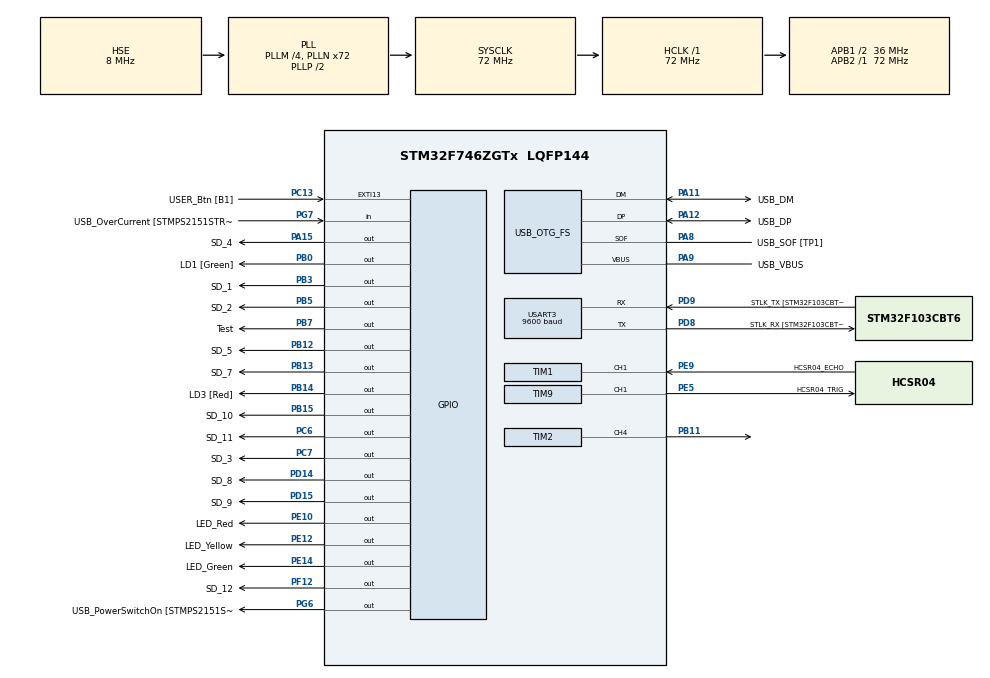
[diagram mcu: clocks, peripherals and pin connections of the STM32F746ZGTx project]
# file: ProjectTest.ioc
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Mcu.Family=STM32F7
Mcu.Name=STM32F746ZGTx
Mcu.Package=LQFP144
NVIC.PriorityGroup=NVIC_PRIORITYGROUP_4
NVIC.TIM1_CC_IRQn=true\:0\:0\:false\:false\:true\:true\:true\:true
PA1.GPIO_Label=RMII_REF_CLK [LAN8742A-CZ-TR_REFCLK0]
PA1.Signal=ETH_REF_CLK
PA10.GPIO_Label=USB_ID
PA10.Signal=USB_OTG_FS_ID
PA11.GPIO_Label=USB_DM
PA11.Mode=Device_Only
PA11.Signal=USB_OTG_FS_DM
PA12.GPIO_Label=USB_DP
PA12.Mode=Device_Only
PA12.Signal=USB_OTG_FS_DP
PA13.GPIO_Label=TMS
PA13.Mode=Serial_Wire
PA13.Signal=SYS_JTMS-SWDIO
PA14.GPIO_Label=TCK
PA14.Mode=Serial_Wire
PA14.Signal=SYS_JTCK-SWCLK
PA15.GPIO_Label=SD_4
PA15.Signal=GPIO_Output
PA2.Signal=S_TIM2_CH3
PA7.GPIO_Label=RMII_CRS_DV [LAN8742A-CZ-TR_CRS_DV]
PA7.Signal=ETH_CRS_DV
PA8.GPIO_Label=USB_SOF [TP1]
PA8.Mode=Activate_SOF_FS
PA8.Signal=USB_OTG_FS_SOF
PA9.GPIO_Label=USB_VBUS
PA9.Mode=Activate_VBUS
PA9.Signal=USB_OTG_FS_VBUS
PB0.GPIO_Label=LD1 [Green]
PB0.Signal=GPIO_Output
PB11.Signal=S_TIM2_CH4
PB12.GPIO_Label=SD_5
PB12.Signal=GPIO_Output
PB13.GPIO_Label=SD_7
PB13.Signal=GPIO_Output
PB14.GPIO_Label=LD3 [Red]
PB14.Signal=GPIO_Output
PB15.GPIO_Label=SD_10
PB15.Signal=GPIO_Output
PB3.GPIO_Label=SD_1
PB3.Signal=GPIO_Output
PB5.GPIO_Label=SD_2
PB5.Signal=GPIO_Output
PB7.GPIO_Label=Test
PB7.Signal=GPIO_Output
PC1.GPIO_Label=RMII_MDC [LAN8742A-CZ-TR_MDC]
PC1.Signal=ETH_MDC
PC13.GPIO_Label=USER_Btn [B1]
PC13.Signal=GPXTI13
PC14/OSC32_IN.Mode=LSE-External-Oscillator
PC14/OSC32_IN.Signal=RCC_OSC32_IN
PC15/OSC32_OUT.Mode=LSE-External-Oscillator
PC15/OSC32_OUT.Signal=RCC_OSC32_OUT
PC4.GPIO_Label=RMII_RXD0 [LAN8742A-CZ-TR_RXD0]
PC4.Signal=ETH_RXD0
PC5.GPIO_Label=RMII_RXD1 [LAN8742A-CZ-TR_RXD1]
PC5.Signal=ETH_RXD1
PC6.GPIO_Label=SD_11
PC6.Signal=GPIO_Output
PC7.GPIO_Label=SD_3
PC7.Signal=GPIO_Output
PD14.GPIO_Label=SD_8
PD14.Signal=GPIO_Output
PD15.GPIO_Label=SD_9
PD15.Signal=GPIO_Output
PD8.GPIO_Label=STLK_RX [STM32F103CBT6_PA3]
PD8.GPIO_PuPd=GPIO_PULLUP
PD8.Mode=Asynchronous
PD8.Signal=USART3_TX
PD9.GPIO_Label=STLK_TX [STM32F103CBT6_PA2]
PD9.GPIO_PuPd=GPIO_PULLUP
PD9.Mode=Asynchronous
PD9.Signal=USART3_RX
PE10.GPIO_Label=LED_Red
PE10.Signal=GPIO_Output
PE12.GPIO_Label=LED_Yellow
PE12.Signal=GPIO_Output
PE14.GPIO_Label=LED_Green
PE14.Signal=GPIO_Output
PE5.GPIO_Label=HCSR04_TRIG
PE5.Signal=S_TIM9_CH1
PE9.GPIO_Label=HCSR04_ECHO
PE9.Signal=S_TIM1_CH1
PF12.GPIO_Label=SD_12
PF12.Signal=GPIO_Output
PG11.GPIO_Label=RMII_TX_EN [LAN8742A-CZ-TR_TXEN]
PG11.Signal=ETH_TX_EN
PG13.GPIO_Label=RMII_TXD0 [LAN8742A-CZ-TR_TXD0]
PG13.Signal=ETH_TXD0
PG6.GPIO_Label=USB_PowerSwitchOn [STMPS2151STR_EN]
PG6.Signal=GPIO_Output
PG7.GPIO_Label=USB_OverCurrent [STMPS2151STR_FAULT]
PG7.Signal=GPIO_Input
PH0/OSC_IN.GPIO_Label=MCO [STM32F103CBT6_PA8]
PH0/OSC_IN.Mode=HSE-External-Clock-Source
PH0/OSC_IN.Signal=RCC_OSC_IN
PH1/OSC_OUT.Mode=HSE-External-Clock-Source
PH1/OSC_OUT.Signal=RCC_OSC_OUT
ProjectManager.HeapSize=0x200
ProjectManager.StackSize=0x400
ProjectManager.TargetToolchain=STM32CubeIDE
RCC.48MHZClocksFreq_Value=24000000
RCC.AHBFreq_Value=72000000
RCC.APB1CLKDivider=RCC_HCLK_DIV2
RCC.APB1Freq_Value=36000000
RCC.APB1TimFreq_Value=72000000
RCC.APB2Freq_Value=72000000
RCC.APB2TimFreq_Value=72000000
RCC.CortexFreq_Value=72000000
RCC.HCLKFreq_Value=72000000
RCC.HSE_VALUE=8000000
RCC.HSI_VALUE=16000000
RCC.PLLM=4
RCC.PLLMUL=RCC_PLL_MUL9
RCC.PLLN=72
RCC.PLLQ=3
RCC.PRESCALERUSB=RCC_USBCLKSOURCE_PLL_DIV1_5
RCC.SYSCLKFreq_VALUE=72000000
RCC.SYSCLKSource=RCC_SYSCLKSOURCE_PLLCLK
RCC.SYSCLKSourceVirtual=RCC_SYSCLKSOURCE_PLLCLK
RCC.USBFreq_Value=48000000
RCC.VCOOutputFreq_Value=144000000
SH.S_TIM1_CH1.0=TIM1_CH1,PWM_Input_1
SH.S_TIM2_CH3.0=TIM2_CH3
SH.S_TIM2_CH4.0=TIM2_CH4,PWM Generation4 CH4
SH.S_TIM9_CH1.0=TIM9_CH1,PWM Generation1 CH1
TIM1.Prescaler=36
TIM2.Channel-PWM\ Generation4\ CH4=TIM_CHANNEL_4
TIM2.Period=512
TIM2.Prescaler=274
TIM9.Channel-PWM\ Generation1\ CH1=TIM_CHANNEL_1
TIM9.Period=62500
TIM9.Prescaler=72
TIM9.Pulse-PWM\ Generation1\ CH1=10
USART3.BaudRate=9600
USART3.VirtualMode-Asynchronous=VM_ASYNC
USB_OTG_FS.VirtualMode=Device_Only
VP_TIM1_VS_ClockSourceINT.Mode=Internal
VP_TIM9_VS_ClockSourceINT.Mode=Internal
board=NUCLEO-F746ZG

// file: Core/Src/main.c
/* USER CODE BEGIN Header */
/**
  ******************************************************************************
  * @file           : main.c
  * @brief          : Main program body
  ******************************************************************************
  * @attention
  *
  * Copyright (c) 2023 STMicroelectronics.
  * All rights reserved.
  *
  * This software is licensed under terms that can be found in the LICENSE file
  * in the root directory of this software component.
  * If no LICENSE file comes with this software, it is provided AS-IS.
  *
  ******************************************************************************
  */
/* USER CODE END Header */
#include "main.h"

/* USER CODE BEGIN Includes */
#include <stdio.h>

/* USER CODE END Includes */

/* USER CODE BEGIN PTD */
typedef uint32_t TIM_Channel;

UART_HandleTypeDef huart3;
TIM_HandleTypeDef htim1;
TIM_HandleTypeDef htim2;
TIM_HandleTypeDef htim9;

typedef struct HCSR04 {
	TIM_HandleTypeDef* echoTimer;
	TIM_Channel echoChannel;
	TIM_HandleTypeDef* trigTimer;
	TIM_Channel trigChannel;
} HCSR04;

HCSR04 distanceSensor = {
	.echoTimer = &htim1,
	.echoChannel = TIM_CHANNEL_1 | TIM_CHANNEL_2,
	.trigTimer = &htim9,
	.trigChannel = TIM_CHANNEL_1
};

void HCSR04_Init(HCSR04* hcsr04) {
	HAL_TIM_IC_Start_IT(hcsr04->echoTimer, hcsr04->echoChannel);
	HAL_TIM_PWM_Start(hcsr04->trigTimer, hcsr04->trigChannel);
}

uint32_t HCSR04_Read(HCSR04* hcsr04) {
	return HAL_TIM_ReadCapturedValue(hcsr04->echoTimer, hcsr04->echoChannel) / (58*2);
}

typedef struct SegmentDisplay {
	GPIO_TypeDef* selectPorts[3];
	uint16_t selectPins[3];
	GPIO_TypeDef* digitPorts[8];
	uint16_t digitPins[8];
} SegmentDisplay;

// 11, 7, 4, 2, 1, 10, 3
uint8_t DIGIT_SEGMENTS[] = {
	0b11111100, // 0
	0b01100000, // 1
	0b11011010, // 2
	0b11110010, // 3
	0b01100110, // 4
	0b10110110, // 5
	0b10111110, // 6
	0b11100000, // 7
	0b11111110, // 8
	0b11110110, // 9
};

SegmentDisplay display = {
	.selectPorts = { SD_8_GPIO_Port, SD_9_GPIO_Port, SD_12_GPIO_Port },
	.selectPins = { SD_8_Pin, SD_9_Pin, SD_12_Pin },
	.digitPorts = { SD_11_GPIO_Port, SD_7_GPIO_Port, SD_4_GPIO_Port, SD_2_GPIO_Port, SD_1_GPIO_Port, SD_10_GPIO_Port, SD_5_GPIO_Port, SD_3_GPIO_Port },
	.digitPins = { SD_11_Pin, SD_7_Pin, SD_4_Pin, SD_2_Pin, SD_1_Pin, SD_10_Pin, SD_5_Pin, SD_3_Pin }
};

void SegmentDisplay_Write(SegmentDisplay* sd, uint32_t val) {
	int tmp = val;
	for (int i = 0; i < 3; ++i) {
		int digit = DIGIT_SEGMENTS[tmp % 10];
		if (i == 0) {
			HAL_GPIO_WritePin(sd->selectPorts[2], sd->selectPins[2], RESET);
		} else {
			HAL_GPIO_WritePin(sd->selectPorts[i - 1], sd->selectPins[i - 1], RESET);
			if (i == 2) {
				digit |= 1;
			}
		}

		for (int j = 0; j < 8; ++j) {
			if ((digit >> (7 - j)) & 1) {
				HAL_GPIO_WritePin(sd->digitPorts[j], sd->digitPins[j], RESET);
			} else {
				HAL_GPIO_WritePin(sd->digitPorts[j], sd->digitPins[j], SET);
			}
		}

		HAL_GPIO_WritePin(sd->selectPorts[i], sd->selectPins[i], SET);
		HAL_Delay(1);
		tmp /= 10;
	}
}

uint32_t val = 200;
uint32_t valBuf[10] = { 200, 200, 200, 200, 200, 200, 200, 200, 200, 200 };
size_t valIdx = 0;
char buf[256];
int buzzerDelay1 = 0;
int buzzerDelay2 = 0;

void HAL_TIM_IC_CaptureCallback(TIM_HandleTypeDef *htim) {
	if (htim == distanceSensor.echoTimer) {
		valBuf[valIdx++] = HCSR04_Read(&distanceSensor);
		valIdx %= 10;
		//if (valIdx >= 10) {
			uint32_t avg = valBuf[0], vmin = valBuf[0], vmax = valBuf[0];
			for (int i = 1; i < 10; ++i) {
				avg += valBuf[i];
				if (valBuf[i] < vmin) {
					vmin = valBuf[i];
				}
				if (valBuf[i] > vmax) {
					vmax = valBuf[i];
				}
			}
			avg -= vmax + vmin;
			avg /= 8;
			val = avg;

			//int len = sprintf((char*)buf, "Distance: %li\r\n", avg);
			//HAL_UART_Transmit(&huart3, (uint8_t*)buf, len, 9999);
			//valIdx = 0;

			if (avg < 20) {
				HAL_GPIO_WritePin(LED_Red_GPIO_Port, LED_Red_Pin, SET);
				HAL_GPIO_WritePin(LED_Yellow_GPIO_Port, LED_Yellow_Pin, RESET);
				HAL_GPIO_WritePin(LED_Green_GPIO_Port, LED_Green_Pin, RESET);
				htim2.Instance->CCR4 = 200;
				buzzerDelay1 = 50;
				buzzerDelay2 = 0;
			} else if (avg < 60) {
				HAL_GPIO_WritePin(LED_Red_GPIO_Port, LED_Red_Pin, RESET);
				HAL_GPIO_WritePin(LED_Yellow_GPIO_Port, LED_Yellow_Pin, SET);
				HAL_GPIO_WritePin(LED_Green_GPIO_Port, LED_Green_Pin, RESET);
				htim2.Instance->CCR4 = 100;
				buzzerDelay1 = 3 * avg;
				buzzerDelay2 = 3 * avg;
			} else {
				HAL_GPIO_WritePin(LED_Red_GPIO_Port, LED_Red_Pin, RESET);
				HAL_GPIO_WritePin(LED_Yellow_GPIO_Port, LED_Yellow_Pin, RESET);
				HAL_GPIO_WritePin(LED_Green_GPIO_Port, LED_Green_Pin, SET);
				if (avg < 175) {
					htim2.Instance->CCR4 = 60 + (20*(175 - avg))/(175 - 60);
				} else {
					htim2.Instance->CCR4 = 0;
				}
				buzzerDelay1 = 3 * avg;
				buzzerDelay2 = 3 * avg;
			}

	}
}
/* USER CODE END PTD */

TIM_HandleTypeDef htim1;
TIM_HandleTypeDef htim2;
TIM_HandleTypeDef htim9;

UART_HandleTypeDef huart3;

PCD_HandleTypeDef hpcd_USB_OTG_FS;

void SystemClock_Config(void);
static void MX_GPIO_Init(void);
static void MX_USART3_UART_Init(void);
static void MX_USB_OTG_FS_PCD_Init(void);
static void MX_TIM1_Init(void);
static void MX_TIM9_Init(void);
static void MX_TIM2_Init(void);

int main(void)
{

  /* MCU Configuration--------------------------------------------------------*/

  /* Reset of all peripherals, Initializes the Flash interface and the Systick. */
  HAL_Init();

  /* Configure the system clock */
  SystemClock_Config();

  /* Initialize all configured peripherals */
  MX_GPIO_Init();
  MX_USART3_UART_Init();
  MX_USB_OTG_FS_PCD_Init();
  MX_TIM1_Init();
  MX_TIM9_Init();
  MX_TIM2_Init();
  /* USER CODE BEGIN 2 */
  HCSR04_Init(&distanceSensor);
  HAL_TIM_PWM_Start(&htim2, TIM_CHANNEL_4);
  /* USER CODE END 2 */

  /* Infinite loop */
  /* USER CODE BEGIN WHILE */
  int buzzer = 0;
  uint32_t lasttick = HAL_GetTick();
  while (1)
  {
	SegmentDisplay_Write(&display, val);
	uint32_t currenttick = HAL_GetTick();
	if (buzzer == 0 && currenttick - lasttick > buzzerDelay1){
		buzzer = 1;
		lasttick = currenttick;
		HAL_TIM_PWM_Start(&htim2, TIM_CHANNEL_4);
		}
	else if(buzzer == 1 && buzzerDelay2 > 0 && currenttick - lasttick > buzzerDelay2){
		buzzer = 0;
		lasttick = currenttick;
		HAL_TIM_PWM_Stop(&htim2, TIM_CHANNEL_4);
		}

    /* USER CODE END WHILE */

  }
}

void SystemClock_Config(void)
{
  RCC_OscInitTypeDef RCC_OscInitStruct = {0};
  RCC_ClkInitTypeDef RCC_ClkInitStruct = {0};

  /** Configure LSE Drive Capability
  */
  HAL_PWR_EnableBkUpAccess();

  /** Configure the main internal regulator output voltage
  */
  __HAL_RCC_PWR_CLK_ENABLE();
  __HAL_PWR_VOLTAGESCALING_CONFIG(PWR_REGULATOR_VOLTAGE_SCALE3);

  /** Initializes the RCC Oscillators according to the specified parameters
  * in the RCC_OscInitTypeDef structure.
  */
  RCC_OscInitStruct.OscillatorType = RCC_OSCILLATORTYPE_HSE;
  RCC_OscInitStruct.HSEState = RCC_HSE_BYPASS;
  RCC_OscInitStruct.PLL.PLLState = RCC_PLL_ON;
  RCC_OscInitStruct.PLL.PLLSource = RCC_PLLSOURCE_HSE;
  RCC_OscInitStruct.PLL.PLLM = 4;
  RCC_OscInitStruct.PLL.PLLN = 72;
  RCC_OscInitStruct.PLL.PLLP = RCC_PLLP_DIV2;
  RCC_OscInitStruct.PLL.PLLQ = 3;
  if (HAL_RCC_OscConfig(&RCC_OscInitStruct) != HAL_OK)
  {
    Error_Handler();
  }

  /** Initializes the CPU, AHB and APB buses clocks
  */
  RCC_ClkInitStruct.ClockType = RCC_CLOCKTYPE_HCLK|RCC_CLOCKTYPE_SYSCLK
                              |RCC_CLOCKTYPE_PCLK1|RCC_CLOCKTYPE_PCLK2;
  RCC_ClkInitStruct.SYSCLKSource = RCC_SYSCLKSOURCE_PLLCLK;
  RCC_ClkInitStruct.AHBCLKDivider = RCC_SYSCLK_DIV1;
  RCC_ClkInitStruct.APB1CLKDivider = RCC_HCLK_DIV2;
  RCC_ClkInitStruct.APB2CLKDivider = RCC_HCLK_DIV1;

  if (HAL_RCC_ClockConfig(&RCC_ClkInitStruct, FLASH_LATENCY_2) != HAL_OK)
  {
    Error_Handler();
  }
}

static void MX_TIM1_Init(void)
{

  TIM_ClockConfigTypeDef sClockSourceConfig = {0};
  TIM_SlaveConfigTypeDef sSlaveConfig = {0};
  TIM_IC_InitTypeDef sConfigIC = {0};
  TIM_MasterConfigTypeDef sMasterConfig = {0};

  htim1.Instance = TIM1;
  htim1.Init.Prescaler = 36;
  htim1.Init.CounterMode = TIM_COUNTERMODE_UP;
  htim1.Init.Period = 65535;
  htim1.Init.ClockDivision = TIM_CLOCKDIVISION_DIV1;
  htim1.Init.RepetitionCounter = 0;
  htim1.Init.AutoReloadPreload = TIM_AUTORELOAD_PRELOAD_DISABLE;
  if (HAL_TIM_Base_Init(&htim1) != HAL_OK)
  {
    Error_Handler();
  }
  sClockSourceConfig.ClockSource = TIM_CLOCKSOURCE_INTERNAL;
  if (HAL_TIM_ConfigClockSource(&htim1, &sClockSourceConfig) != HAL_OK)
  {
    Error_Handler();
  }
  if (HAL_TIM_IC_Init(&htim1) != HAL_OK)
  {
    Error_Handler();
  }
  sSlaveConfig.SlaveMode = TIM_SLAVEMODE_RESET;
  sSlaveConfig.InputTrigger = TIM_TS_TI1FP1;
  sSlaveConfig.TriggerPolarity = TIM_INPUTCHANNELPOLARITY_RISING;
  sSlaveConfig.TriggerPrescaler = TIM_ICPSC_DIV1;
  sSlaveConfig.TriggerFilter = 0;
  if (HAL_TIM_SlaveConfigSynchro(&htim1, &sSlaveConfig) != HAL_OK)
  {
    Error_Handler();
  }
  sConfigIC.ICPolarity = TIM_INPUTCHANNELPOLARITY_RISING;
  sConfigIC.ICSelection = TIM_ICSELECTION_DIRECTTI;
  sConfigIC.ICPrescaler = TIM_ICPSC_DIV1;
  sConfigIC.ICFilter = 0;
  if (HAL_TIM_IC_ConfigChannel(&htim1, &sConfigIC, TIM_CHANNEL_1) != HAL_OK)
  {
    Error_Handler();
  }
  sConfigIC.ICPolarity = TIM_INPUTCHANNELPOLARITY_FALLING;
  sConfigIC.ICSelection = TIM_ICSELECTION_INDIRECTTI;
  if (HAL_TIM_IC_ConfigChannel(&htim1, &sConfigIC, TIM_CHANNEL_2) != HAL_OK)
  {
    Error_Handler();
  }
  sMasterConfig.MasterOutputTrigger = TIM_TRGO_RESET;
  sMasterConfig.MasterOutputTrigger2 = TIM_TRGO2_RESET;
  sMasterConfig.MasterSlaveMode = TIM_MASTERSLAVEMODE_DISABLE;
  if (HAL_TIMEx_MasterConfigSynchronization(&htim1, &sMasterConfig) != HAL_OK)
  {
    Error_Handler();
  }

}

static void MX_TIM2_Init(void)
{

  TIM_MasterConfigTypeDef sMasterConfig = {0};
  TIM_OC_InitTypeDef sConfigOC = {0};

  htim2.Instance = TIM2;
  htim2.Init.Prescaler = 274;
  htim2.Init.CounterMode = TIM_COUNTERMODE_UP;
  htim2.Init.Period = 512;
  htim2.Init.ClockDivision = TIM_CLOCKDIVISION_DIV1;
  htim2.Init.AutoReloadPreload = TIM_AUTORELOAD_PRELOAD_DISABLE;
  if (HAL_TIM_PWM_Init(&htim2) != HAL_OK)
  {
    Error_Handler();
  }
  sMasterConfig.MasterOutputTrigger = TIM_TRGO_RESET;
  sMasterConfig.MasterSlaveMode = TIM_MASTERSLAVEMODE_DISABLE;
  if (HAL_TIMEx_MasterConfigSynchronization(&htim2, &sMasterConfig) != HAL_OK)
  {
    Error_Handler();
  }
  sConfigOC.OCMode = TIM_OCMODE_PWM1;
  sConfigOC.Pulse = 0;
  sConfigOC.OCPolarity = TIM_OCPOLARITY_HIGH;
  sConfigOC.OCFastMode = TIM_OCFAST_DISABLE;
  if (HAL_TIM_PWM_ConfigChannel(&htim2, &sConfigOC, TIM_CHANNEL_4) != HAL_OK)
  {
    Error_Handler();
  }
  HAL_TIM_MspPostInit(&htim2);

}

static void MX_TIM9_Init(void)
{

  TIM_ClockConfigTypeDef sClockSourceConfig = {0};
  TIM_OC_InitTypeDef sConfigOC = {0};

  htim9.Instance = TIM9;
  htim9.Init.Prescaler = 72;
  htim9.Init.CounterMode = TIM_COUNTERMODE_UP;
  htim9.Init.Period = 62500;
  htim9.Init.ClockDivision = TIM_CLOCKDIVISION_DIV1;
  htim9.Init.AutoReloadPreload = TIM_AUTORELOAD_PRELOAD_DISABLE;
  if (HAL_TIM_Base_Init(&htim9) != HAL_OK)
  {
    Error_Handler();
  }
  sClockSourceConfig.ClockSource = TIM_CLOCKSOURCE_INTERNAL;
  if (HAL_TIM_ConfigClockSource(&htim9, &sClockSourceConfig) != HAL_OK)
  {
    Error_Handler();
  }
  if (HAL_TIM_PWM_Init(&htim9) != HAL_OK)
  {
    Error_Handler();
  }
  sConfigOC.OCMode = TIM_OCMODE_PWM1;
  sConfigOC.Pulse = 10;
  sConfigOC.OCPolarity = TIM_OCPOLARITY_HIGH;
  sConfigOC.OCFastMode = TIM_OCFAST_DISABLE;
  if (HAL_TIM_PWM_ConfigChannel(&htim9, &sConfigOC, TIM_CHANNEL_1) != HAL_OK)
  {
    Error_Handler();
  }
  HAL_TIM_MspPostInit(&htim9);

}

static void MX_USART3_UART_Init(void)
{

  huart3.Instance = USART3;
  huart3.Init.BaudRate = 9600;
  huart3.Init.WordLength = UART_WORDLENGTH_8B;
  huart3.Init.StopBits = UART_STOPBITS_1;
  huart3.Init.Parity = UART_PARITY_NONE;
  huart3.Init.Mode = UART_MODE_TX_RX;
  huart3.Init.HwFlowCtl = UART_HWCONTROL_NONE;
  huart3.Init.OverSampling = UART_OVERSAMPLING_16;
  huart3.Init.OneBitSampling = UART_ONE_BIT_SAMPLE_DISABLE;
  huart3.AdvancedInit.AdvFeatureInit = UART_ADVFEATURE_NO_INIT;
  if (HAL_UART_Init(&huart3) != HAL_OK)
  {
    Error_Handler();
  }

}

static void MX_USB_OTG_FS_PCD_Init(void)
{

  hpcd_USB_OTG_FS.Instance = USB_OTG_FS;
  hpcd_USB_OTG_FS.Init.dev_endpoints = 6;
  hpcd_USB_OTG_FS.Init.speed = PCD_SPEED_FULL;
  hpcd_USB_OTG_FS.Init.dma_enable = DISABLE;
  hpcd_USB_OTG_FS.Init.phy_itface = PCD_PHY_EMBEDDED;
  hpcd_USB_OTG_FS.Init.Sof_enable = ENABLE;
  hpcd_USB_OTG_FS.Init.low_power_enable = DISABLE;
  hpcd_USB_OTG_FS.Init.lpm_enable = DISABLE;
  hpcd_USB_OTG_FS.Init.vbus_sensing_enable = ENABLE;
  hpcd_USB_OTG_FS.Init.use_dedicated_ep1 = DISABLE;
  if (HAL_PCD_Init(&hpcd_USB_OTG_FS) != HAL_OK)
  {
    Error_Handler();
  }

}

static void MX_GPIO_Init(void)
{
  GPIO_InitTypeDef GPIO_InitStruct = {0};

  /* GPIO Ports Clock Enable */
  __HAL_RCC_GPIOE_CLK_ENABLE();
  __HAL_RCC_GPIOC_CLK_ENABLE();
  __HAL_RCC_GPIOH_CLK_ENABLE();
  __HAL_RCC_GPIOA_CLK_ENABLE();
  __HAL_RCC_GPIOB_CLK_ENABLE();
  __HAL_RCC_GPIOF_CLK_ENABLE();
  __HAL_RCC_GPIOD_CLK_ENABLE();
  __HAL_RCC_GPIOG_CLK_ENABLE();

  /*Configure GPIO pin Output Level */
  HAL_GPIO_WritePin(GPIOB, LD1_Pin|SD_5_Pin|SD_7_Pin|LD3_Pin
                          |SD_10_Pin|SD_1_Pin|SD_2_Pin|Test_Pin, GPIO_PIN_RESET);

  /*Configure GPIO pin Output Level */
  HAL_GPIO_WritePin(SD_12_GPIO_Port, SD_12_Pin, GPIO_PIN_RESET);

  /*Configure GPIO pin Output Level */
  HAL_GPIO_WritePin(GPIOE, LED_Red_Pin|LED_Yellow_Pin|LED_Green_Pin, GPIO_PIN_RESET);

  /*Configure GPIO pin Output Level */
  HAL_GPIO_WritePin(GPIOD, SD_8_Pin|SD_9_Pin, GPIO_PIN_RESET);

  /*Configure GPIO pin Output Level */
  HAL_GPIO_WritePin(USB_PowerSwitchOn_GPIO_Port, USB_PowerSwitchOn_Pin, GPIO_PIN_RESET);

  /*Configure GPIO pin Output Level */
  HAL_GPIO_WritePin(GPIOC, SD_11_Pin|SD_3_Pin, GPIO_PIN_RESET);

  /*Configure GPIO pin Output Level */
  HAL_GPIO_WritePin(SD_4_GPIO_Port, SD_4_Pin, GPIO_PIN_RESET);

  /*Configure GPIO pin : USER_Btn_Pin */
  GPIO_InitStruct.Pin = USER_Btn_Pin;
  GPIO_InitStruct.Mode = GPIO_MODE_IT_RISING;
  GPIO_InitStruct.Pull = GPIO_NOPULL;
  HAL_GPIO_Init(USER_Btn_GPIO_Port, &GPIO_InitStruct);

  /*Configure GPIO pins : RMII_MDC_Pin RMII_RXD0_Pin RMII_RXD1_Pin */
  GPIO_InitStruct.Pin = RMII_MDC_Pin|RMII_RXD0_Pin|RMII_RXD1_Pin;
  GPIO_InitStruct.Mode = GPIO_MODE_AF_PP;
  GPIO_InitStruct.Pull = GPIO_NOPULL;
  GPIO_InitStruct.Speed = GPIO_SPEED_FREQ_VERY_HIGH;
  GPIO_InitStruct.Alternate = GPIO_AF11_ETH;
  HAL_GPIO_Init(GPIOC, &GPIO_InitStruct);

  /*Configure GPIO pins : RMII_REF_CLK_Pin RMII_CRS_DV_Pin */
  GPIO_InitStruct.Pin = RMII_REF_CLK_Pin|RMII_CRS_DV_Pin;
  GPIO_InitStruct.Mode = GPIO_MODE_AF_PP;
  GPIO_InitStruct.Pull = GPIO_NOPULL;
  GPIO_InitStruct.Speed = GPIO_SPEED_FREQ_VERY_HIGH;
  GPIO_InitStruct.Alternate = GPIO_AF11_ETH;
  HAL_GPIO_Init(GPIOA, &GPIO_InitStruct);

  /*Configure GPIO pins : LD1_Pin SD_5_Pin SD_7_Pin LD3_Pin
                           SD_10_Pin SD_1_Pin SD_2_Pin Test_Pin */
  GPIO_InitStruct.Pin = LD1_Pin|SD_5_Pin|SD_7_Pin|LD3_Pin
                          |SD_10_Pin|SD_1_Pin|SD_2_Pin|Test_Pin;
  GPIO_InitStruct.Mode = GPIO_MODE_OUTPUT_PP;
  GPIO_InitStruct.Pull = GPIO_NOPULL;
  GPIO_InitStruct.Speed = GPIO_SPEED_FREQ_LOW;
  HAL_GPIO_Init(GPIOB, &GPIO_InitStruct);

  /*Configure GPIO pin : SD_12_Pin */
  GPIO_InitStruct.Pin = SD_12_Pin;
  GPIO_InitStruct.Mode = GPIO_MODE_OUTPUT_PP;
  GPIO_InitStruct.Pull = GPIO_NOPULL;
  GPIO_InitStruct.Speed = GPIO_SPEED_FREQ_LOW;
  HAL_GPIO_Init(SD_12_GPIO_Port, &GPIO_InitStruct);

  /*Configure GPIO pins : LED_Red_Pin LED_Yellow_Pin LED_Green_Pin */
  GPIO_InitStruct.Pin = LED_Red_Pin|LED_Yellow_Pin|LED_Green_Pin;
  GPIO_InitStruct.Mode = GPIO_MODE_OUTPUT_PP;
  GPIO_InitStruct.Pull = GPIO_NOPULL;
  GPIO_InitStruct.Speed = GPIO_SPEED_FREQ_LOW;
  HAL_GPIO_Init(GPIOE, &GPIO_InitStruct);

  /*Configure GPIO pins : SD_8_Pin SD_9_Pin */
  GPIO_InitStruct.Pin = SD_8_Pin|SD_9_Pin;
  GPIO_InitStruct.Mode = GPIO_MODE_OUTPUT_PP;
  GPIO_InitStruct.Pull = GPIO_NOPULL;
  GPIO_InitStruct.Speed = GPIO_SPEED_FREQ_LOW;
  HAL_GPIO_Init(GPIOD, &GPIO_InitStruct);

  /*Configure GPIO pin : USB_PowerSwitchOn_Pin */
  GPIO_InitStruct.Pin = USB_PowerSwitchOn_Pin;
  GPIO_InitStruct.Mode = GPIO_MODE_OUTPUT_PP;
  GPIO_InitStruct.Pull = GPIO_NOPULL;
  GPIO_InitStruct.Speed = GPIO_SPEED_FREQ_LOW;
  HAL_GPIO_Init(USB_PowerSwitchOn_GPIO_Port, &GPIO_InitStruct);

  /*Configure GPIO pin : USB_OverCurrent_Pin */
  GPIO_InitStruct.Pin = USB_OverCurrent_Pin;
  GPIO_InitStruct.Mode = GPIO_MODE_INPUT;
  GPIO_InitStruct.Pull = GPIO_NOPULL;
  HAL_GPIO_Init(USB_OverCurrent_GPIO_Port, &GPIO_InitStruct);

  /*Configure GPIO pins : SD_11_Pin SD_3_Pin */
  GPIO_InitStruct.Pin = SD_11_Pin|SD_3_Pin;
  GPIO_InitStruct.Mode = GPIO_MODE_OUTPUT_PP;
  GPIO_InitStruct.Pull = GPIO_NOPULL;
  GPIO_InitStruct.Speed = GPIO_SPEED_FREQ_LOW;
  HAL_GPIO_Init(GPIOC, &GPIO_InitStruct);

  /*Configure GPIO pin : SD_4_Pin */
  GPIO_InitStruct.Pin = SD_4_Pin;
  GPIO_InitStruct.Mode = GPIO_MODE_OUTPUT_PP;
  GPIO_InitStruct.Pull = GPIO_NOPULL;
  GPIO_InitStruct.Speed = GPIO_SPEED_FREQ_LOW;
  HAL_GPIO_Init(SD_4_GPIO_Port, &GPIO_InitStruct);

  /*Configure GPIO pins : RMII_TX_EN_Pin RMII_TXD0_Pin */
  GPIO_InitStruct.Pin = RMII_TX_EN_Pin|RMII_TXD0_Pin;
  GPIO_InitStruct.Mode = GPIO_MODE_AF_PP;
  GPIO_InitStruct.Pull = GPIO_NOPULL;
  GPIO_InitStruct.Speed = GPIO_SPEED_FREQ_VERY_HIGH;
  GPIO_InitStruct.Alternate = GPIO_AF11_ETH;
  HAL_GPIO_Init(GPIOG, &GPIO_InitStruct);

}

void Error_Handler(void)
{
  __disable_irq();
  while (1)
  {
  }
}
